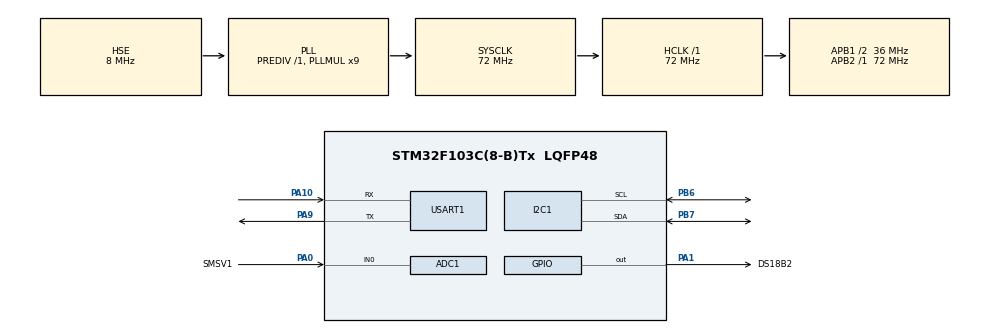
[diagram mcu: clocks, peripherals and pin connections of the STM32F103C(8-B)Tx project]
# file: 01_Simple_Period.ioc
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ADC1.Channel-0\#ChannelRegularConversion=ADC_CHANNEL_0
ADC1.NbrOfConversionFlag=1
ADC1.Rank-0\#ChannelRegularConversion=1
ADC1.SamplingTime-0\#ChannelRegularConversion=ADC_SAMPLETIME_1CYCLE_5
ADC1.master=1
Mcu.Family=STM32F1
Mcu.Name=STM32F103C(8-B)Tx
Mcu.Package=LQFP48
NVIC.PriorityGroup=NVIC_PRIORITYGROUP_4
NVIC.USART1_IRQn=true\:0\:0\:false\:false\:true\:true\:true\:true
PA0-WKUP.GPIO_Label=SMSV1
PA0-WKUP.Signal=ADCx_IN0
PA1.GPIO_Label=DS18B2
PA1.GPIO_ModeDefaultOutputPP=GPIO_MODE_OUTPUT_OD
PA1.GPIO_PuPd=GPIO_NOPULL
PA1.GPIO_Speed=GPIO_SPEED_FREQ_HIGH
PA1.PinState=GPIO_PIN_RESET
PA1.Signal=GPIO_Output
PA10.Mode=Asynchronous
PA10.Signal=USART1_RX
PA13.Mode=Serial_Wire
PA13.Signal=SYS_JTMS-SWDIO
PA14.Mode=Serial_Wire
PA14.Signal=SYS_JTCK-SWCLK
PA9.Mode=Asynchronous
PA9.Signal=USART1_TX
PB6.Mode=I2C
PB6.Signal=I2C1_SCL
PB7.Mode=I2C
PB7.Signal=I2C1_SDA
PD0-OSC_IN.Mode=HSE-External-Oscillator
PD0-OSC_IN.Signal=RCC_OSC_IN
PD1-OSC_OUT.Mode=HSE-External-Oscillator
PD1-OSC_OUT.Signal=RCC_OSC_OUT
ProjectManager.HeapSize=0x200
ProjectManager.StackSize=0x400
ProjectManager.TargetToolchain=STM32CubeIDE
RCC.ADCPresc=RCC_ADCPCLK2_DIV6
RCC.AHBFreq_Value=72000000
RCC.APB1CLKDivider=RCC_HCLK_DIV2
RCC.APB1Freq_Value=36000000
RCC.APB1TimFreq_Value=72000000
RCC.APB2Freq_Value=72000000
RCC.APB2TimFreq_Value=72000000
RCC.HCLKFreq_Value=72000000
RCC.PLLMUL=RCC_PLL_MUL9
RCC.PLLSourceVirtual=RCC_PLLSOURCE_HSE
RCC.SYSCLKFreq_VALUE=72000000
RCC.SYSCLKSource=RCC_SYSCLKSOURCE_PLLCLK
RCC.USBFreq_Value=72000000
SH.ADCx_IN0.0=ADC1_IN0,IN0
TIM1.AutoReloadPreload=TIM_AUTORELOAD_PRELOAD_ENABLE
TIM1.Prescaler=7199
TIM2.AutoReloadPreload=TIM_AUTORELOAD_PRELOAD_ENABLE
TIM2.Prescaler=71
TIM4.AutoReloadPreload=TIM_AUTORELOAD_PRELOAD_ENABLE
TIM4.Prescaler=71
USART1.VirtualMode=VM_ASYNC
VP_TIM1_VS_ClockSourceINT.Mode=Internal
VP_TIM2_VS_ClockSourceINT.Mode=Internal
VP_TIM4_VS_ClockSourceINT.Mode=Internal
board=custom

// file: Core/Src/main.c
/* USER CODE BEGIN Header */
/**
  ******************************************************************************
  * @file           : main.c
  * @brief          : Main program body
  ******************************************************************************
  * @attention
  *
  * Copyright (c) 2026 STMicroelectronics.
  * All rights reserved.
  *
  * This software is licensed under terms that can be found in the LICENSE file
  * in the root directory of this software component.
  * If no LICENSE file comes with this software, it is provided AS-IS.
  *
  ******************************************************************************
  */
/* USER CODE END Header */
#include "main.h"

/* USER CODE BEGIN Includes */
#include <stdio.h>
#include <string.h>
#include "i2c-lcd.h"
#include "DS18B20_Sensors.h"
#include "SMS_Sensors.h"
#include "DHT11_Sensors.h"

/* USER CODE END Includes */

ADC_HandleTypeDef hadc1;

I2C_HandleTypeDef hi2c1;

TIM_HandleTypeDef htim1;
TIM_HandleTypeDef htim2;
TIM_HandleTypeDef htim4;

UART_HandleTypeDef huart1;

/* USER CODE BEGIN PV */
uint8_t rx_data;
uint8_t rx_byte;        // Ký tự nhận từ ngắt
uint8_t rx_buffer[64];  // Bộ đệm lưu trữ chuỗi
volatile uint8_t write_idx = 0; // Vị trí ghi vào đệm
volatile uint8_t read_idx = 0;  // Vị trí đọc ra LCD
volatile uint8_t flag_5s  = 0; // cờ báo ngắt với chu kỳ 5s

//SENSORS
float ds_temp = 0;      // DS18B20
uint8_t ds_ok = 0;     // status 0 = false, 1 = true

uint16_t soil_raw = 0;
float soil_percent = 0;
/* USER CODE END PV */

void SystemClock_Config(void);
static void MX_GPIO_Init(void);
static void MX_I2C1_Init(void);
static void MX_USART1_UART_Init(void);
static void MX_ADC1_Init(void);
static void MX_TIM4_Init(void);
static void MX_TIM2_Init(void);
static void MX_TIM1_Init(void);
/* USER CODE BEGIN PFP */
void UART_printf(UART_HandleTypeDef *huart, char *str)
{
    HAL_UART_Transmit(huart, (uint8_t *)str, strlen(str), 100);
}

void delay_us_timer(uint16_t us) {
    __HAL_TIM_SET_COUNTER(&htim2, 0);
    while (__HAL_TIM_GET_COUNTER(&htim2) < us);
}

void HAL_TIM_PeriodElapsedCallback(TIM_HandleTypeDef *htim)
{
    if (htim->Instance == TIM1)
    {
    	UART_printf(&huart1, "Interrupt each 5s\r\n");
    	flag_5s  = 1;
    }
}

void Task_ReadDS18B20(void) {
	uint32_t start_tick = HAL_GetTick();
    float result = DS18B20_GetTempResult();

    if (result == -999.0) {
        ds_ok = 0; // Không thấy cảm biến
    } else {
        ds_temp = result;
        ds_ok = 1;
    }

    // Yêu cầu đo cho chu kỳ 5 giây sau
    DS18B20_StartMeasure();
    uint32_t end_tick = HAL_GetTick();
    uint32_t ds18b20_execution_time = end_tick - start_tick;
    char msg[64];
    sprintf(msg, "Temp Soil: %.2f%% | Exec Time: %lu ms\r\n", ds_temp, ds18b20_execution_time);
    UART_printf(&huart1, msg);
}

void Task_UART_Send(void) {
	uint32_t start_tick = HAL_GetTick();
    char msg[64];
    if (ds_ok) {
        sprintf(msg, "Soil Temperature: %.2f 'C\r\n", ds_temp);
    } else {
        sprintf(msg, "DS18B20 Sensor Failed!\r\n");
    }
    char msg2[64];
    sprintf(msg2, "soil moister: %.2f %%\r\n", soil_percent);
    UART_printf(&huart1, msg);
    UART_printf(&huart1, msg2);
    uint32_t end_tick = HAL_GetTick();
	uint32_t uart_execution_time = end_tick - start_tick;
	char msg1[64];
	sprintf(msg, "Uart Exec Time: %lu ms\r\n", uart_execution_time);
	UART_printf(&huart1, msg1);
}

void Task_LCD_Display(void) {
	uint32_t start_tick = HAL_GetTick();
    if (ds_ok) {
        // In nhiệt độ ở dòng 1, cột 0
        LCD_PrintFloat(1, 0, "Temp:", ds_temp, " 'C ");
        LCD_PrintFloat(2, 0, "Moister: ", soil_percent, "%");
    } else {
        lcd_goto_XY(1, 0);
        lcd_send_string("Temp Error!");
    }
    uint32_t end_tick = HAL_GetTick();
	uint32_t lcd_execution_time = end_tick - start_tick;
	char msg[64];
	sprintf(msg, "LCD Execution Time: %lu ms\r\n", lcd_execution_time);
	UART_printf(&huart1, msg);

}

void Task_ReadSoil(void) {
    uint32_t start_tick = HAL_GetTick(); // 1. Lấy tick bắt đầu

    // --- Nội dung Task đọc SMS-v1 ---
    HAL_ADC_Start(&hadc1);
    if (HAL_ADC_PollForConversion(&hadc1, 10) == HAL_OK) {
        soil_raw = HAL_ADC_GetValue(&hadc1);

        // Công thức chuyển đổi (tốn thời gian tính toán số thực)
        soil_percent = 100.0 * (4095 - soil_raw) / (4095 - 1500);
        if(soil_percent > 100) soil_percent = 100;
        if(soil_percent < 0) soil_percent = 0;
    }
    // --------------------------------

    uint32_t end_tick = HAL_GetTick();   // 2. Lấy tick kết thúc
    uint32_t sms_execution_time = end_tick - start_tick; // 3. Tính toán C
    char msg[64];
    sprintf(msg, "Soil: %.2f%% | Exec Time: %lu ms\r\n", soil_percent, sms_execution_time);
    UART_printf(&huart1, msg);
}

void App_ExecutePeriodicTasks(void)
{
	Task_ReadDS18B20(); // Đọc nhiệt độ
	Task_ReadSoil();    // Đọc độ ẩm đất
	Task_LCD_Display(); // Cập nhật LCD
	Task_UART_Send();   // Gửi lên máy tính
}
/* USER CODE END PFP */

/* USER CODE BEGIN 0 */
char cmd_buffer[32]; // Bộ đệm lưu lệnh
uint8_t cmd_idx = 0; // Chỉ số đệm
uint32_t current_interval = 5; // Chu kỳ mặc định là 5s
void Process_UART_Commands(void) {
    while (read_idx != write_idx) { // Dùng while để xử lý hết buffer nhanh hơn
        uint8_t c = rx_buffer[read_idx];
        read_idx = (read_idx + 1) % 64;

        // 1. Chốt lệnh khi gặp Enter (13) hoặc Xuống dòng (10)
        if (c == 13 || c == 10) {
            if (cmd_idx > 0) { // Chỉ xử lý nếu buffer có dữ liệu
                cmd_buffer[cmd_idx] = '\0';

                if (strstr(cmd_buffer, "SET_TIME=") != NULL) {
                    int new_time = atoi(&cmd_buffer[9]);
                    if (new_time >= 1 && new_time <= 30) {
                        __HAL_TIM_SET_PRESCALER(&htim1, 35999);
                        __HAL_TIM_SET_AUTORELOAD(&htim1, (new_time * 2000) - 1);
                        __HAL_TIM_SET_COUNTER(&htim1, 0);
                        UART_printf(&huart1, "\r\n[SYSTEM] Interval Updated!\r\n");
                    }
                }
                cmd_idx = 0; // Reset ngay sau khi xử lý xong
            }
        }
        // 2. Gom ký tự (bỏ qua khoảng trắng hoặc ký tự rác)
        else if (c >= 32 && c <= 126) {
            if (cmd_idx < 31) {
                cmd_buffer[cmd_idx++] = c;
            }
        }
    }
}
/* USER CODE END 0 */

int main(void)
{

  /* MCU Configuration--------------------------------------------------------*/

  /* Reset of all peripherals, Initializes the Flash interface and the Systick. */
  HAL_Init();

  /* Configure the system clock */
  SystemClock_Config();

  /* Initialize all configured peripherals */
  MX_GPIO_Init();
  MX_I2C1_Init();
  MX_USART1_UART_Init();
  MX_ADC1_Init();
  MX_TIM4_Init();
  MX_TIM2_Init();
  MX_TIM1_Init();
  /* USER CODE BEGIN 2 */
  HAL_UART_Receive_IT(&huart1, &rx_data, 1);
  UART_printf(&huart1, "System Started!\r\n"); // Dòng kiểm tra
  HAL_TIM_Base_Start(&htim2); // Bật TIM2 cho delay_us
  HAL_TIM_Base_Start_IT(&htim1);

  lcd_init();
  lcd_clear_display();
  lcd_goto_XY(1, 0);
  lcd_send_string("  Ready!");
  lcd_goto_XY(2, 0);
  lcd_send_string("Enter Command");

  UART_printf(&huart1, "Step 1: UART OK\r\n");

  UART_printf(&huart1, "Step 2: LCD OK\r\n");

  UART_printf(&huart1, "Step 3: Timer OK\r\n");

  /* USER CODE END 2 */

  /* Infinite loop */
  while (1)
  {
	  if(flag_5s)
	  {
		  App_ExecutePeriodicTasks();
		  flag_5s = 0;
	  }

	  Process_UART_Commands();
  }
}

void SystemClock_Config(void)
{
  RCC_OscInitTypeDef RCC_OscInitStruct = {0};
  RCC_ClkInitTypeDef RCC_ClkInitStruct = {0};
  RCC_PeriphCLKInitTypeDef PeriphClkInit = {0};

  /** Initializes the RCC Oscillators according to the specified parameters
  * in the RCC_OscInitTypeDef structure.
  */
  RCC_OscInitStruct.OscillatorType = RCC_OSCILLATORTYPE_HSE;
  RCC_OscInitStruct.HSEState = RCC_HSE_ON;
  RCC_OscInitStruct.HSEPredivValue = RCC_HSE_PREDIV_DIV1;
  RCC_OscInitStruct.HSIState = RCC_HSI_ON;
  RCC_OscInitStruct.PLL.PLLState = RCC_PLL_ON;
  RCC_OscInitStruct.PLL.PLLSource = RCC_PLLSOURCE_HSE;
  RCC_OscInitStruct.PLL.PLLMUL = RCC_PLL_MUL9;
  if (HAL_RCC_OscConfig(&RCC_OscInitStruct) != HAL_OK)
  {
    Error_Handler();
  }

  /** Initializes the CPU, AHB and APB buses clocks
  */
  RCC_ClkInitStruct.ClockType = RCC_CLOCKTYPE_HCLK|RCC_CLOCKTYPE_SYSCLK
                              |RCC_CLOCKTYPE_PCLK1|RCC_CLOCKTYPE_PCLK2;
  RCC_ClkInitStruct.SYSCLKSource = RCC_SYSCLKSOURCE_PLLCLK;
  RCC_ClkInitStruct.AHBCLKDivider = RCC_SYSCLK_DIV1;
  RCC_ClkInitStruct.APB1CLKDivider = RCC_HCLK_DIV2;
  RCC_ClkInitStruct.APB2CLKDivider = RCC_HCLK_DIV1;

  if (HAL_RCC_ClockConfig(&RCC_ClkInitStruct, FLASH_LATENCY_2) != HAL_OK)
  {
    Error_Handler();
  }
  PeriphClkInit.PeriphClockSelection = RCC_PERIPHCLK_ADC;
  PeriphClkInit.AdcClockSelection = RCC_ADCPCLK2_DIV6;
  if (HAL_RCCEx_PeriphCLKConfig(&PeriphClkInit) != HAL_OK)
  {
    Error_Handler();
  }
}

static void MX_ADC1_Init(void)
{

  ADC_ChannelConfTypeDef sConfig = {0};

  /** Common config
  */
  hadc1.Instance = ADC1;
  hadc1.Init.ScanConvMode = ADC_SCAN_DISABLE;
  hadc1.Init.ContinuousConvMode = DISABLE;
  hadc1.Init.DiscontinuousConvMode = DISABLE;
  hadc1.Init.ExternalTrigConv = ADC_SOFTWARE_START;
  hadc1.Init.DataAlign = ADC_DATAALIGN_RIGHT;
  hadc1.Init.NbrOfConversion = 1;
  if (HAL_ADC_Init(&hadc1) != HAL_OK)
  {
    Error_Handler();
  }

  /** Configure Regular Channel
  */
  sConfig.Channel = ADC_CHANNEL_0;
  sConfig.Rank = ADC_REGULAR_RANK_1;
  sConfig.SamplingTime = ADC_SAMPLETIME_1CYCLE_5;
  if (HAL_ADC_ConfigChannel(&hadc1, &sConfig) != HAL_OK)
  {
    Error_Handler();
  }

}

static void MX_I2C1_Init(void)
{

  hi2c1.Instance = I2C1;
  hi2c1.Init.ClockSpeed = 100000;
  hi2c1.Init.DutyCycle = I2C_DUTYCYCLE_2;
  hi2c1.Init.OwnAddress1 = 0;
  hi2c1.Init.AddressingMode = I2C_ADDRESSINGMODE_7BIT;
  hi2c1.Init.DualAddressMode = I2C_DUALADDRESS_DISABLE;
  hi2c1.Init.OwnAddress2 = 0;
  hi2c1.Init.GeneralCallMode = I2C_GENERALCALL_DISABLE;
  hi2c1.Init.NoStretchMode = I2C_NOSTRETCH_DISABLE;
  if (HAL_I2C_Init(&hi2c1) != HAL_OK)
  {
    Error_Handler();
  }

}

static void MX_TIM1_Init(void)
{

  TIM_ClockConfigTypeDef sClockSourceConfig = {0};
  TIM_MasterConfigTypeDef sMasterConfig = {0};

  htim1.Instance = TIM1;
  htim1.Init.Prescaler = 7199;
  htim1.Init.CounterMode = TIM_COUNTERMODE_UP;
  htim1.Init.Period = 65535;
  htim1.Init.ClockDivision = TIM_CLOCKDIVISION_DIV1;
  htim1.Init.RepetitionCounter = 0;
  htim1.Init.AutoReloadPreload = TIM_AUTORELOAD_PRELOAD_ENABLE;
  if (HAL_TIM_Base_Init(&htim1) != HAL_OK)
  {
    Error_Handler();
  }
  sClockSourceConfig.ClockSource = TIM_CLOCKSOURCE_INTERNAL;
  if (HAL_TIM_ConfigClockSource(&htim1, &sClockSourceConfig) != HAL_OK)
  {
    Error_Handler();
  }
  sMasterConfig.MasterOutputTrigger = TIM_TRGO_RESET;
  sMasterConfig.MasterSlaveMode = TIM_MASTERSLAVEMODE_DISABLE;
  if (HAL_TIMEx_MasterConfigSynchronization(&htim1, &sMasterConfig) != HAL_OK)
  {
    Error_Handler();
  }

}

static void MX_TIM2_Init(void)
{

  TIM_ClockConfigTypeDef sClockSourceConfig = {0};
  TIM_MasterConfigTypeDef sMasterConfig = {0};

  htim2.Instance = TIM2;
  htim2.Init.Prescaler = 71;
  htim2.Init.CounterMode = TIM_COUNTERMODE_UP;
  htim2.Init.Period = 65535;
  htim2.Init.ClockDivision = TIM_CLOCKDIVISION_DIV1;
  htim2.Init.AutoReloadPreload = TIM_AUTORELOAD_PRELOAD_ENABLE;
  if (HAL_TIM_Base_Init(&htim2) != HAL_OK)
  {
    Error_Handler();
  }
  sClockSourceConfig.ClockSource = TIM_CLOCKSOURCE_INTERNAL;
  if (HAL_TIM_ConfigClockSource(&htim2, &sClockSourceConfig) != HAL_OK)
  {
    Error_Handler();
  }
  sMasterConfig.MasterOutputTrigger = TIM_TRGO_RESET;
  sMasterConfig.MasterSlaveMode = TIM_MASTERSLAVEMODE_DISABLE;
  if (HAL_TIMEx_MasterConfigSynchronization(&htim2, &sMasterConfig) != HAL_OK)
  {
    Error_Handler();
  }

}

static void MX_TIM4_Init(void)
{

  TIM_ClockConfigTypeDef sClockSourceConfig = {0};
  TIM_MasterConfigTypeDef sMasterConfig = {0};

  htim4.Instance = TIM4;
  htim4.Init.Prescaler = 71;
  htim4.Init.CounterMode = TIM_COUNTERMODE_UP;
  htim4.Init.Period = 65535;
  htim4.Init.ClockDivision = TIM_CLOCKDIVISION_DIV1;
  htim4.Init.AutoReloadPreload = TIM_AUTORELOAD_PRELOAD_ENABLE;
  if (HAL_TIM_Base_Init(&htim4) != HAL_OK)
  {
    Error_Handler();
  }
  sClockSourceConfig.ClockSource = TIM_CLOCKSOURCE_INTERNAL;
  if (HAL_TIM_ConfigClockSource(&htim4, &sClockSourceConfig) != HAL_OK)
  {
    Error_Handler();
  }
  sMasterConfig.MasterOutputTrigger = TIM_TRGO_RESET;
  sMasterConfig.MasterSlaveMode = TIM_MASTERSLAVEMODE_DISABLE;
  if (HAL_TIMEx_MasterConfigSynchronization(&htim4, &sMasterConfig) != HAL_OK)
  {
    Error_Handler();
  }

}

static void MX_USART1_UART_Init(void)
{

  huart1.Instance = USART1;
  huart1.Init.BaudRate = 115200;
  huart1.Init.WordLength = UART_WORDLENGTH_8B;
  huart1.Init.StopBits = UART_STOPBITS_1;
  huart1.Init.Parity = UART_PARITY_NONE;
  huart1.Init.Mode = UART_MODE_TX_RX;
  huart1.Init.HwFlowCtl = UART_HWCONTROL_NONE;
  huart1.Init.OverSampling = UART_OVERSAMPLING_16;
  if (HAL_UART_Init(&huart1) != HAL_OK)
  {
    Error_Handler();
  }

}

static void MX_GPIO_Init(void)
{
  GPIO_InitTypeDef GPIO_InitStruct = {0};

  /* GPIO Ports Clock Enable */
  __HAL_RCC_GPIOD_CLK_ENABLE();
  __HAL_RCC_GPIOA_CLK_ENABLE();
  __HAL_RCC_GPIOB_CLK_ENABLE();

  /*Configure GPIO pin Output Level */
  HAL_GPIO_WritePin(DS18B20_GPIO_Port, DS18B20_Pin, GPIO_PIN_SET);

  /*Configure GPIO pin : DS18B20_Pin */
  GPIO_InitStruct.Pin = DS18B20_Pin;
  GPIO_InitStruct.Mode = GPIO_MODE_OUTPUT_OD;
  GPIO_InitStruct.Pull = GPIO_NOPULL;
  GPIO_InitStruct.Speed = GPIO_SPEED_FREQ_HIGH;
  HAL_GPIO_Init(DS18B20_GPIO_Port, &GPIO_InitStruct);

}

/* USER CODE BEGIN 4 */
void HAL_UART_RxCpltCallback(UART_HandleTypeDef *huart)
{
    // Kiểm tra đúng là USART1
    if (huart->Instance == USART1)
    {
        // Cất dữ liệu vào buffer vòng
        rx_buffer[write_idx] = rx_data;
        write_idx = (write_idx + 1) % 64;

        // Tiếp tục nhận byte tiếp theo vào rx_data
        HAL_UART_Receive_IT(&huart1, &rx_data, 1);
    }
}
/* USER CODE END 4 */

void Error_Handler(void)
{
  __disable_irq();
  while (1)
  {
  }
}
